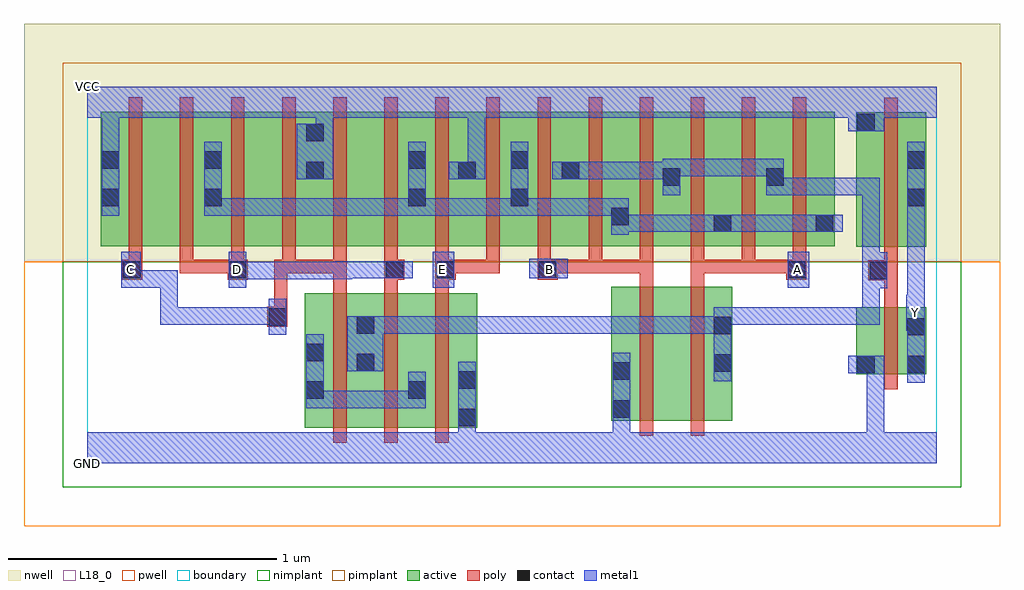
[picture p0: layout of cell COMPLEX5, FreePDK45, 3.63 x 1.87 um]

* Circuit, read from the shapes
.subckt COMPLEX5 A B C D E GND VCC Y
M1 n1 C n2 VSUBS nfet w=0.5u l=0.05u
M2 n2 D n1 VSUBS nfet w=0.5u l=0.05u
M3 GND E n2 VSUBS nfet w=0.5u l=0.05u
M4 n3 B GND VSUBS nfet w=0.5u l=0.05u
M5 n1 A n3 VSUBS nfet w=0.5u l=0.05u
M6 Y n1 GND VSUBS nfet w=0.25u l=0.05u
M7 n4 C VCC n5 pfet w=0.5u l=0.05u
M8 n6 D n4 n5 pfet w=0.5u l=0.05u
M9 n7 D n6 n5 pfet w=0.5u l=0.05u
M10 VCC C n7 n5 pfet w=0.5u l=0.05u
M11 n8 C VCC n5 pfet w=0.5u l=0.05u
M12 n6 D n8 n5 pfet w=0.5u l=0.05u
M13 VCC E n6 n5 pfet w=0.5u l=0.05u m=2
M14 n1 B n6 n5 pfet w=0.5u l=0.05u m=3
M15 n6 A n1 n5 pfet w=0.5u l=0.05u m=3
M16 Y n1 VCC n5 pfet w=0.5u l=0.05u
.ends

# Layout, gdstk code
import gdstk
lib = gdstk.Library(unit=1e-6, precision=1e-09)
def R(c, l, rs):  # rectangles x0, y0, x1, y1
    for r in rs: c.add(gdstk.rectangle(r[:2], r[2:], *l))
def A(c, l, x, y, w, h, nx, ny, dx, dy):  # array of equal rectangles
    R(c, l, [(x+i*dx, y+j*dy, x+i*dx+w, y+j*dy+h) for i in range(nx) for j in range(ny)])
active = (1, 0)
pwell = (2, 0)
nwell = (3, 0)
nimplant = (4, 0)
pimplant = (5, 0)
poly = (9, 0)
contact = (10, 0)
metal1 = (11, 0)
L18_0 = (18, 0)
boundary = (235, 0)

complex5 = lib.new_cell('COMPLEX5')
A(complex5, active, 0.05, 0.807, 0.225, 0.5, 3, 1, 0.38, 0)
A(complex5, active, 0.275, 0.807, 0.23, 0.5, 3, 1, 0.38, 0)
R(complex5, active, [(0.81,0.132,1.072,0.632), (0.997,0.132,1.265,0.632), (1.19,0.132,1.45,0.632), (1.375,0.132,1.45,0.632), (1.95,0.157,2.175,0.657), (1.95,0.157,2.025,0.657), (2.175,0.157,2.4,0.657), (0.81,0.195,0.885,0.632), (0.997,0.195,1.072,0.592), (1.19,0.195,1.265,0.592), (2.325,0.195,2.4,0.657), (2.86,0.33,2.935,0.58), (2.86,0.33,3.12,0.58), (3.045,0.33,3.12,0.58), (2.86,0.805,3.12,1.305), (3.045,0.805,3.12,1.2), (0.05,0.807,0.125,1.305), (0.43,0.807,0.505,1.2), (0.81,0.807,0.885,1.305), (1.19,0.807,1.45,1.307), (1.19,0.807,1.265,1.2), (1.375,0.807,1.45,1.305), (1.375,0.807,1.645,1.307), (1.57,0.807,1.645,1.2), (1.57,0.807,1.835,1.307), (1.76,0.807,2.02,1.307), (1.76,0.807,1.835,1.2), (1.945,0.807,2.02,1.07), (1.945,0.807,2.21,1.307), (2.135,0.807,2.21,1.2), (2.135,0.807,2.4,1.307), (2.325,0.807,2.595,1.307), (2.325,0.807,2.4,1.07), (2.52,0.807,2.78,1.307), (2.52,0.807,2.595,1.2), (2.705,0.807,2.78,1.047), (2.86,0.807,2.935,1.305)])
R(complex5, pwell, [(-0.235,-0.235,3.395,0.75)])
R(complex5, nwell, [(-0.235,0.75,3.395,1.635)])
R(complex5, nimplant, [(-0.09,-0.09,3.25,0.75)])
R(complex5, pimplant, [(-0.09,0.75,3.25,1.49)])
A(complex5, poly, 0.915, 0.077, 0.05, 0.61, 3, 1, 0.19, 0)
A(complex5, poly, 0.155, 0.707, 0.05, 0.095, 14, 1, 0.19, 0)
A(complex5, poly, 2.055, 0.707, 0.05, 0.05, 3, 1, 0.19, 0)
A(complex5, poly, 0.155, 0.752, 0.05, 0.61, 14, 1, 0.19, 0)
R(complex5, poly, [(2.055,0.102,2.105,0.712), (2.245,0.102,2.295,0.712), (2.965,0.275,3.015,0.635), (0.67,0.507,0.745,0.582), (0.695,0.532,0.745,0.757), (2.965,0.585,3.015,0.73), (0.915,0.637,0.965,0.757), (1.105,0.637,1.155,0.732), (1.295,0.637,1.345,0.732), (2.055,0.662,2.105,0.757), (2.245,0.662,2.295,0.757), (2.905,0.68,3.015,0.755), (0.13,0.682,0.205,0.757), (0.522,0.682,0.597,0.757), (1.105,0.682,1.18,0.757), (1.295,0.682,1.37,0.757), (1.675,0.682,1.75,0.757), (2.6,0.682,2.675,0.757), (2.965,0.705,3.015,0.8), (0.345,0.707,0.395,0.757), (0.345,0.707,0.572,0.757), (0.522,0.707,0.572,0.757), (0.522,0.707,0.572,0.757), (0.695,0.707,0.755,0.757), (0.705,0.707,0.755,0.757), (0.705,0.707,0.775,0.757), (0.725,0.707,0.965,0.757), (0.915,0.707,0.965,0.757), (0.915,0.707,0.965,0.757), (0.915,0.707,0.965,0.757), (1.32,0.707,1.535,0.757), (1.485,0.707,1.535,0.757), (1.485,0.707,1.535,0.757), (1.485,0.707,1.535,0.757), (1.7,0.707,1.915,0.757), (1.865,0.707,1.915,0.757), (1.865,0.707,1.915,0.757), (1.865,0.707,1.915,0.757), (1.865,0.707,2.105,0.757), (2.055,0.707,2.105,0.757), (2.055,0.707,2.105,0.757), (2.245,0.707,2.485,0.757), (2.435,0.707,2.485,0.757), (2.435,0.707,2.485,0.757), (2.435,0.707,2.65,0.757), (2.6,0.707,2.65,0.757), (2.6,0.707,2.65,0.757), (2.965,0.75,3.015,1.36)])
R(complex5, contact, [(1.38,0.137,1.445,0.202), (1.955,0.17,2.02,0.235), (0.815,0.24,0.88,0.305), (1.195,0.24,1.26,0.305), (1.38,0.277,1.445,0.342), (1.955,0.31,2.02,0.375), (2.865,0.335,2.93,0.4), (3.05,0.335,3.115,0.4), (2.33,0.34,2.395,0.405), (1.002,0.342,1.067,0.407), (0.815,0.38,0.88,0.445), (3.05,0.475,3.115,0.54), (2.33,0.48,2.395,0.545), (1.002,0.482,1.067,0.547), (0.675,0.512,0.74,0.577), (2.91,0.685,2.975,0.75), (0.135,0.687,0.2,0.752), (0.527,0.687,0.592,0.752), (1.11,0.687,1.175,0.752), (1.3,0.687,1.365,0.752), (1.68,0.687,1.745,0.752), (2.605,0.687,2.67,0.752), (2.33,0.86,2.395,0.925), (2.71,0.86,2.775,0.925), (1.95,0.885,2.015,0.95), (0.055,0.955,0.12,1.02), (0.435,0.955,0.5,1.02), (1.195,0.955,1.26,1.02), (1.575,0.955,1.64,1.02), (3.05,0.955,3.115,1.02), (2.14,1.032,2.205,1.097), (2.525,1.032,2.59,1.097), (0.815,1.057,0.88,1.122), (1.38,1.057,1.445,1.122), (1.765,1.057,1.83,1.122), (0.055,1.095,0.12,1.16), (0.435,1.095,0.5,1.16), (1.195,1.095,1.26,1.16), (1.575,1.095,1.64,1.16), (3.05,1.095,3.115,1.16), (0.815,1.197,0.88,1.262), (2.865,1.235,2.93,1.3)])
A(complex5, metal1, 2.662, 0.515, 0.065, 0.065, 3, 1, 0.11, 0)
R(complex5, metal1, [(0,0,3.16,0.115), (1.38,0.05,1.445,0.115), (1.38,0.05,1.445,0.115), (1.38,0.05,1.445,0.167), (1.955,0.05,2.02,0.115), (1.955,0.05,2.02,0.115), (1.955,0.05,2.02,0.2), (2.9,0.05,2.965,0.115), (2.9,0.05,2.965,0.115), (2.9,0.05,2.965,0.115), (2.9,0.05,2.965,0.115), (2.9,0.05,2.965,0.115), (2.9,0.05,2.965,0.115), (2.9,0.05,2.965,0.4), (1.38,0.102,1.445,0.377), (1.955,0.135,2.02,0.41), (0.815,0.205,0.88,0.48), (0.815,0.205,0.985,0.27), (0.92,0.205,0.985,0.27), (0.92,0.205,1.122,0.27), (1.057,0.205,1.122,0.27), (1.057,0.205,1.192,0.27), (1.127,0.205,1.192,0.27), (1.127,0.205,1.26,0.27), (1.195,0.205,1.26,0.34), (3.05,0.3,3.115,0.575), (2.33,0.305,2.395,0.58), (2.83,0.335,2.965,0.4), (0.967,0.342,1.102,0.547), (0.675,0.477,0.74,0.612), (1.037,0.482,1.192,0.547), (1.127,0.482,1.192,0.547), (1.127,0.482,1.272,0.547), (1.207,0.482,1.272,0.547), (1.207,0.482,1.435,0.547), (1.37,0.482,1.435,0.547), (1.37,0.482,1.435,0.547), (1.37,0.482,1.435,0.547), (1.37,0.482,1.572,0.547), (1.507,0.482,1.572,0.547), (1.507,0.482,1.657,0.547), (1.592,0.482,1.657,0.547), (1.592,0.482,1.877,0.547), (1.812,0.482,1.877,0.547), (1.812,0.482,1.877,0.547), (1.812,0.482,1.877,0.547), (1.812,0.482,2.015,0.547), (1.95,0.482,2.015,0.547), (1.95,0.482,2.015,0.547), (1.95,0.482,2.015,0.547), (1.95,0.482,2.152,0.547), (2.087,0.482,2.152,0.547), (2.087,0.482,2.152,0.547), (2.087,0.482,2.152,0.547), (2.087,0.482,2.395,0.547), (2.33,0.482,2.395,0.547), (2.33,0.482,2.395,0.547), (3.047,0.492,3.115,0.627), (3.05,0.51,3.115,0.575), (0.272,0.515,0.337,0.58), (0.272,0.515,0.475,0.58), (0.272,0.515,0.337,0.717), (0.41,0.515,0.475,0.58), (0.41,0.515,0.707,0.58), (0.642,0.515,0.707,0.58), (0.642,0.515,0.707,0.58), (0.642,0.515,0.707,0.58), (0.642,0.515,0.74,0.58), (2.33,0.515,2.532,0.58), (2.467,0.515,2.532,0.58), (2.467,0.515,2.567,0.58), (2.502,0.515,2.567,0.58), (2.502,0.515,2.727,0.58), (2.662,0.515,2.837,0.58), (2.772,0.515,2.947,0.58), (2.882,0.515,2.947,0.715), (3.05,0.562,3.115,0.985), (2.882,0.65,2.947,0.715), (2.882,0.65,2.975,0.715), (2.882,0.65,2.947,0.985), (2.91,0.65,2.975,0.785), (0.127,0.652,0.2,0.787), (0.135,0.652,0.2,0.717), (0.135,0.652,0.2,0.717), (0.135,0.652,0.337,0.717), (0.272,0.652,0.337,0.717), (0.272,0.652,0.337,0.717), (0.272,0.652,0.337,0.717), (0.527,0.652,0.592,0.787), (1.285,0.652,1.365,0.787), (2.605,0.652,2.685,0.787), (0.527,0.685,0.707,0.75), (0.642,0.685,0.707,0.75), (0.642,0.685,0.847,0.75), (0.782,0.685,0.847,0.75), (0.782,0.685,0.847,0.75), (0.782,0.685,0.847,0.75), (0.782,0.685,0.985,0.75), (0.92,0.685,0.985,0.752), (0.92,0.687,1.122,0.752), (1.057,0.687,1.122,0.752), (1.057,0.687,1.122,0.752), (1.057,0.687,1.21,0.752), (1.645,0.687,1.787,0.76), (1.95,0.85,2.015,0.985), (1.95,0.86,2.152,0.925), (2.087,0.86,2.152,0.925), (2.087,0.86,2.152,0.925), (2.087,0.86,2.152,0.925), (2.087,0.86,2.36,0.925), (2.295,0.86,2.36,0.925), (2.295,0.86,2.36,0.925), (2.295,0.86,2.43,0.925), (2.365,0.86,2.532,0.925), (2.467,0.86,2.532,0.925), (2.467,0.86,2.567,0.925), (2.502,0.86,2.567,0.925), (2.502,0.86,2.74,0.925), (2.675,0.86,2.74,0.925), (2.675,0.86,2.74,0.925), (2.675,0.86,2.81,0.925), (0.055,0.92,0.12,1.195), (0.435,0.92,0.5,1.195), (0.435,0.92,0.5,0.985), (0.435,0.92,0.5,0.985), (0.435,0.92,0.707,0.985), (0.642,0.92,0.707,0.985), (0.642,0.92,0.845,0.985), (0.78,0.92,0.845,0.985), (0.78,0.92,0.845,0.985), (0.78,0.92,0.845,0.985), (0.78,0.92,0.985,0.985), (0.92,0.92,0.985,0.985), (0.92,0.92,1.122,0.985), (1.057,0.92,1.122,0.985), (1.057,0.92,1.122,0.985), (1.057,0.92,1.122,0.985), (1.057,0.92,1.26,0.985), (1.195,0.92,1.26,1.195), (1.195,0.92,1.435,0.985), (1.37,0.92,1.435,0.985), (1.37,0.92,1.435,0.985), (1.37,0.92,1.435,0.985), (1.37,0.92,1.572,0.985), (1.507,0.92,1.572,0.985), (1.507,0.92,1.64,0.985), (1.575,0.92,1.64,1.195), (1.575,0.92,1.877,0.985), (1.812,0.92,1.877,0.985), (1.812,0.92,1.877,0.985), (1.812,0.92,1.877,0.985), (1.812,0.92,2.015,0.985), (1.95,0.92,2.015,0.985), (1.95,0.92,2.015,0.985), (2.882,0.92,2.947,0.985), (2.882,0.92,2.947,1.062), (3.05,0.92,3.115,1.195), (2.14,0.997,2.205,1.132), (2.525,0.997,2.59,1.132), (2.525,0.997,2.727,1.062), (2.662,0.997,2.727,1.062), (2.662,0.997,2.727,1.062), (2.662,0.997,2.727,1.062), (2.662,0.997,2.947,1.062), (2.882,0.997,2.947,1.062), (0.78,1.057,0.915,1.262), (1.345,1.057,1.48,1.122), (1.415,1.057,1.48,1.35), (1.73,1.057,1.865,1.122), (1.8,1.057,2.015,1.122), (1.95,1.057,2.015,1.122), (1.95,1.057,2.015,1.122), (1.95,1.057,2.015,1.122), (1.95,1.057,2.205,1.122), (2.14,1.057,2.205,1.122), (2.14,1.057,2.205,1.122), (2.14,1.067,2.395,1.132), (2.33,1.067,2.395,1.132), (2.33,1.067,2.395,1.132), (2.33,1.067,2.395,1.132), (2.33,1.067,2.532,1.132), (2.467,1.067,2.532,1.132), (2.467,1.067,2.59,1.132), (0.055,1.13,0.12,1.35), (0.85,1.197,0.915,1.35), (2.83,1.235,2.965,1.3), (2.9,1.235,2.965,1.35), (0,1.285,3.16,1.4)])
R(complex5, L18_0, [(0,0,3.16,0.115), (1.38,0.05,1.445,0.115), (1.38,0.05,1.445,0.115), (1.38,0.05,1.445,0.167), (1.955,0.05,2.02,0.115), (1.955,0.05,2.02,0.115), (1.955,0.05,2.02,0.2), (2.9,0.05,2.965,0.115), (2.9,0.05,2.965,0.115), (2.9,0.05,2.965,0.115), (2.9,0.05,2.965,0.115), (2.9,0.05,2.965,0.115), (2.9,0.05,2.965,0.115), (2.9,0.05,2.965,0.4), (1.38,0.102,1.445,0.377), (1.955,0.135,2.02,0.41), (3.05,0.3,3.115,0.575), (2.83,0.335,2.965,0.4), (0.675,0.477,0.74,0.612), (3.047,0.492,3.115,0.627), (3.05,0.51,3.115,0.575), (0.272,0.515,0.337,0.58), (0.272,0.515,0.337,0.717), (0.272,0.515,0.475,0.58), (0.41,0.515,0.475,0.58), (0.41,0.515,0.707,0.58), (0.642,0.515,0.707,0.58), (0.642,0.515,0.707,0.58), (0.642,0.515,0.707,0.58), (0.642,0.515,0.74,0.58), (3.047,0.527,3.112,0.592), (3.05,0.562,3.115,0.985), (0.127,0.652,0.2,0.787), (0.135,0.652,0.2,0.717), (0.135,0.652,0.2,0.717), (0.135,0.652,0.337,0.717), (0.272,0.652,0.337,0.717), (0.272,0.652,0.337,0.717), (0.272,0.652,0.337,0.717), (0.527,0.652,0.592,0.787), (1.285,0.652,1.365,0.787), (2.605,0.652,2.685,0.787), (0.527,0.685,0.707,0.75), (0.642,0.685,0.707,0.75), (0.642,0.685,0.847,0.75), (0.782,0.685,0.847,0.75), (0.782,0.685,0.847,0.75), (0.782,0.685,0.847,0.75), (0.782,0.685,0.985,0.75), (0.92,0.685,0.985,0.752), (0.127,0.687,0.192,0.752), (0.527,0.687,0.592,0.752), (0.92,0.687,1.122,0.752), (1.057,0.687,1.122,0.752), (1.057,0.687,1.122,0.752), (1.057,0.687,1.21,0.752), (1.287,0.687,1.352,0.752), (1.645,0.687,1.787,0.76), (1.687,0.687,1.752,0.752), (2.607,0.687,2.672,0.752), (0.055,0.92,0.12,1.195), (3.05,0.92,3.115,1.195), (0.78,1.057,0.915,1.262), (1.345,1.057,1.48,1.122), (1.415,1.057,1.48,1.35), (0.055,1.13,0.12,1.35), (0.85,1.197,0.915,1.35), (2.83,1.235,2.965,1.3), (2.9,1.235,2.965,1.35), (0,1.285,3.16,1.4)])
R(complex5, boundary, [(0,0,3.16,1.4)])
complex5.add(gdstk.Label('A', (2.64,0.72), layer=11, texttype=0))
complex5.add(gdstk.Label('B', (1.72,0.72), layer=11, texttype=0))
complex5.add(gdstk.Label('C', (0.16,0.72), layer=11, texttype=0))
complex5.add(gdstk.Label('D', (0.56,0.72), layer=11, texttype=0))
complex5.add(gdstk.Label('E', (1.32,0.72), layer=11, texttype=0))
complex5.add(gdstk.Label('Y', (3.08,0.56), layer=11, texttype=0))
complex5.add(gdstk.Label('VCC', (0,1.4), layer=11, texttype=0))
complex5.add(gdstk.Label('GND', (0,0), layer=11, texttype=0))

lib.write_gds('COMPLEX5.gds')
